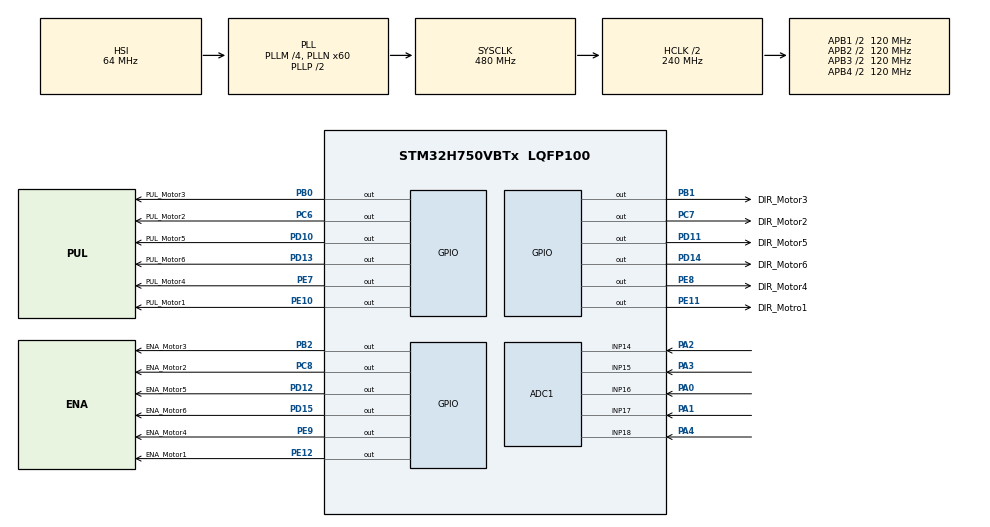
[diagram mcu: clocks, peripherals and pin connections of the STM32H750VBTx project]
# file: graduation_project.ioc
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ADC1.Channel-1\#ChannelRegularConversion=ADC_CHANNEL_15
ADC1.Channel-3\#ChannelRegularConversion=ADC_CHANNEL_14
ADC1.Channel-4\#ChannelRegularConversion=ADC_CHANNEL_17
ADC1.Channel-5\#ChannelRegularConversion=ADC_CHANNEL_16
ADC1.Channel-8\#ChannelRegularConversion=ADC_CHANNEL_18
ADC1.ClockPrescaler=ADC_CLOCK_ASYNC_DIV2
ADC1.ExternalTrigConv=ADC_SOFTWARE_START
ADC1.NbrOfConversion=5
ADC1.NbrOfConversionFlag=1
ADC1.OffsetNumber-1\#ChannelRegularConversion=ADC_OFFSET_NONE
ADC1.OffsetNumber-3\#ChannelRegularConversion=ADC_OFFSET_NONE
ADC1.OffsetNumber-4\#ChannelRegularConversion=ADC_OFFSET_NONE
ADC1.OffsetNumber-5\#ChannelRegularConversion=ADC_OFFSET_NONE
ADC1.OffsetNumber-8\#ChannelRegularConversion=ADC_OFFSET_NONE
ADC1.OffsetSignedSaturation-1\#ChannelRegularConversion=DISABLE
ADC1.OffsetSignedSaturation-3\#ChannelRegularConversion=DISABLE
ADC1.OffsetSignedSaturation-4\#ChannelRegularConversion=DISABLE
ADC1.OffsetSignedSaturation-5\#ChannelRegularConversion=DISABLE
ADC1.OffsetSignedSaturation-8\#ChannelRegularConversion=DISABLE
ADC1.Rank-1\#ChannelRegularConversion=1
ADC1.Rank-3\#ChannelRegularConversion=2
ADC1.Rank-4\#ChannelRegularConversion=3
ADC1.Rank-5\#ChannelRegularConversion=4
ADC1.Rank-8\#ChannelRegularConversion=5
ADC1.SamplingTime-1\#ChannelRegularConversion=ADC_SAMPLETIME_387CYCLES_5
ADC1.SamplingTime-3\#ChannelRegularConversion=ADC_SAMPLETIME_387CYCLES_5
ADC1.SamplingTime-4\#ChannelRegularConversion=ADC_SAMPLETIME_387CYCLES_5
ADC1.SamplingTime-5\#ChannelRegularConversion=ADC_SAMPLETIME_387CYCLES_5
ADC1.SamplingTime-8\#ChannelRegularConversion=ADC_SAMPLETIME_387CYCLES_5
ADC1.master=1
CORTEX_M7.default_mode_Activation=1
FREERTOS.Tasks01=First,24,128,FirstMotor,Default,NULL,Dynamic,NULL,NULL;Second,24,128,SecondMotor,Default,NULL,Dynamic,NULL,NULL;Third,24,128,ThirdMotor,Default,NULL,Dynamic,NULL,NULL;Fourth,24,128,FourthMotor,Default,NULL,Dynamic,NULL,NULL;Fifth,24,128,FifthMotor,Default,NULL,Dynamic,NULL,NULL;Sixth,24,128,SixthMotor,Default,NULL,Dynamic,NULL,NULL
Mcu.Family=STM32H7
Mcu.Name=STM32H750VBTx
Mcu.Package=LQFP100
NVIC.PriorityGroup=NVIC_PRIORITYGROUP_4
NVIC.TIM1_UP_IRQn=true\:15\:0\:false\:false\:true\:false\:false\:true\:true
NVIC.TimeBase=TIM1_UP_IRQn
NVIC.TimeBaseIP=TIM1
PA0.Mode=IN16-Single-Ended
PA0.Signal=ADC1_INP16
PA1.Mode=IN17-Single-Ended
PA1.Signal=ADC1_INP17
PA13\ (JTMS/SWDIO).Mode=Serial_Wire
PA13\ (JTMS/SWDIO).Signal=DEBUG_JTMS-SWDIO
PA14\ (JTCK/SWCLK).Mode=Serial_Wire
PA14\ (JTCK/SWCLK).Signal=DEBUG_JTCK-SWCLK
PA2.Signal=ADCx_INP14
PA3.Signal=ADCx_INP15
PA4.Signal=ADCx_INP18
PB0.GPIO_Label=PUL_Motor3
PB0.Signal=GPIO_Output
PB1.GPIO_Label=DIR_Motor3
PB1.Signal=GPIO_Output
PB2.GPIO_Label=ENA_Motor3
PB2.Signal=GPIO_Output
PC6.GPIO_Label=PUL_Motor2
PC6.Signal=GPIO_Output
PC7.GPIO_Label=DIR_Motor2
PC7.Signal=GPIO_Output
PC8.GPIO_Label=ENA_Motor2
PC8.Signal=GPIO_Output
PD10.GPIO_Label=PUL_Motor5
PD10.Signal=GPIO_Output
PD11.GPIO_Label=DIR_Motor5
PD11.Signal=GPIO_Output
PD12.GPIO_Label=ENA_Motor5
PD12.Signal=GPIO_Output
PD13.GPIO_Label=PUL_Motor6
PD13.Signal=GPIO_Output
PD14.GPIO_Label=DIR_Motor6
PD14.Signal=GPIO_Output
PD15.GPIO_Label=ENA_Motor6
PD15.Signal=GPIO_Output
PE10.GPIO_Label=PUL_Motor1
PE10.Signal=GPIO_Output
PE11.GPIO_Label=DIR_Motro1
PE11.Signal=GPIO_Output
PE12.GPIO_Label=ENA_Motor1
PE12.Signal=GPIO_Output
PE7.GPIO_Label=PUL_Motor4
PE7.Signal=GPIO_Output
PE8.GPIO_Label=DIR_Motor4
PE8.Signal=GPIO_Output
PE9.GPIO_Label=ENA_Motor4
PE9.Signal=GPIO_Output
PH0-OSC_IN\ (PH0).Mode=HSE-External-Oscillator
PH0-OSC_IN\ (PH0).Signal=RCC_OSC_IN
PH1-OSC_OUT\ (PH1).Mode=HSE-External-Oscillator
PH1-OSC_OUT\ (PH1).Signal=RCC_OSC_OUT
ProjectManager.HeapSize=0x200
ProjectManager.StackSize=0x400
ProjectManager.TargetToolchain=STM32CubeIDE
RCC.ADCFreq_Value=80000000
RCC.APB1Freq_Value=120000000
RCC.APB2Freq_Value=120000000
RCC.APB3Freq_Value=120000000
RCC.APB4Freq_Value=120000000
RCC.CortexFreq_Value=480000000
RCC.D1PPRE=RCC_APB3_DIV2
RCC.D2PPRE1=RCC_APB1_DIV2
RCC.D2PPRE2=RCC_APB2_DIV2
RCC.D3PPRE=RCC_APB4_DIV2
RCC.DIVM1=4
RCC.DIVM2=4
RCC.DIVN1=60
RCC.DIVN2=10
RCC.HCLKFreq_Value=240000000
RCC.HPRE=RCC_HCLK_DIV2
RCC.PLL2FRACN=0
RCC.PLL3FRACN=0
RCC.PLLFRACN=0
RCC.SYSCLKFreq_VALUE=480000000
RCC.SYSCLKSource=RCC_SYSCLKSOURCE_PLLCLK
RCC.USBFreq_Value=480000000
SH.ADCx_INP14.0=ADC1_INP14,IN14-Single-Ended
SH.ADCx_INP15.0=ADC1_INP15,IN15-Single-Ended
SH.ADCx_INP18.0=ADC1_INP18,IN18-Single-Ended
TIM8.Period=1000-1
TIM8.Prescaler=28000-1
VP_FREERTOS_VS_CMSIS_V2.Mode=CMSIS_V2
VP_MEMORYMAP_VS_MEMORYMAP.Mode=CurAppReg
VP_SYS_VS_tim1.Mode=TIM1
VP_TIM8_VS_ClockSourceINT.Mode=Internal
board=custom

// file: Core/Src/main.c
/* USER CODE BEGIN Header */
/**
 ******************************************************************************
 * @file           : main.c
 * @brief          : Main program body
 ******************************************************************************
 * @attention
 *
 * Copyright (c) 2025 STMicroelectronics.
 * All rights reserved.
 *
 * This software is licensed under terms that can be found in the LICENSE file
 * in the root directory of this software component.
 * If no LICENSE file comes with this software, it is provided AS-IS.
 *
 ******************************************************************************
 */
/* USER CODE END Header */
#include "main.h"
#include "cmsis_os.h"

/* USER CODE BEGIN Includes */
#include <math.h>
#include <stdbool.h>
#include <stdlib.h>
#include <math.h>
/* USER CODE END Includes */

/* USER CODE BEGIN PTD */
typedef enum {
	MOTOR_DISABLED = 0,
	MOTOR_ENABLED = 1
} MotorState;

typedef struct {
    GPIO_TypeDef* enablePort;
    uint16_t enablePin;
    GPIO_TypeDef* directionPort;
    uint16_t directionPin;
    GPIO_TypeDef* stepPort;
    uint16_t stepPin;
    ADC_HandleTypeDef* hadc;
    uint32_t adcChannel;
    int lastStepPosition;
    int totalSteps;  // Tracks absolute position including multiple revolutions
    MotorState enabled;
    int lastStablePotValue;
    int lastMovementDirection;
    int currentSpeed;
    float rotationRange;
} MotorController;
/* USER CODE END PTD */

/* USER CODE BEGIN PD */
#define min(a, b) ((a) < (b) ? (a) : (b))
#define StepPerRevolution 6400

// Enhanced tuning parameters
#define BASE_PULSE_WIDTH 150       // Increased for more stability
#define ACCELERATION_STEPS 800     // Longer acceleration
#define POT_SAMPLES 15             // More samples for better filtering
#define POT_DEADZONE 100           // Larger deadzone
#define POSITION_TOLERANCE 50      // Larger position tolerance
#define MIN_MOVE_STEPS 20          // Minimum steps to move
#define MAX_SPEED_CHANGE 50        // Limit speed changes between steps
#define HYSTERESIS 30
/* USER CODE END PD */

ADC_HandleTypeDef hadc1;

TIM_HandleTypeDef htim8;

/* Definitions for First */
osThreadId_t FirstHandle;
const osThreadAttr_t First_attributes = {
  .name = "First",
  .stack_size = 128 * 4,
  .priority = (osPriority_t) osPriorityNormal,
};
/* Definitions for Second */
osThreadId_t SecondHandle;
const osThreadAttr_t Second_attributes = {
  .name = "Second",
  .stack_size = 128 * 4,
  .priority = (osPriority_t) osPriorityNormal,
};
/* Definitions for Third */
osThreadId_t ThirdHandle;
const osThreadAttr_t Third_attributes = {
  .name = "Third",
  .stack_size = 128 * 4,
  .priority = (osPriority_t) osPriorityNormal,
};
/* Definitions for Fourth */
osThreadId_t FourthHandle;
const osThreadAttr_t Fourth_attributes = {
  .name = "Fourth",
  .stack_size = 128 * 4,
  .priority = (osPriority_t) osPriorityNormal,
};
/* Definitions for Fifth */
osThreadId_t FifthHandle;
const osThreadAttr_t Fifth_attributes = {
  .name = "Fifth",
  .stack_size = 128 * 4,
  .priority = (osPriority_t) osPriorityNormal,
};
/* Definitions for Sixth */
osThreadId_t SixthHandle;
const osThreadAttr_t Sixth_attributes = {
  .name = "Sixth",
  .stack_size = 128 * 4,
  .priority = (osPriority_t) osPriorityNormal,
};
/* USER CODE BEGIN PV */
MotorController motor1 = {
		.enablePort = GPIOE, .enablePin = GPIO_PIN_12,
		.directionPort = GPIOE, .directionPin = GPIO_PIN_11,
		.stepPort = GPIOE, .stepPin = GPIO_PIN_10,
		.hadc = &hadc1, .adcChannel = ADC_CHANNEL_15,
		.lastStepPosition = 0,
		.enabled = MOTOR_DISABLED,
		.lastStablePotValue = 0,
		.lastMovementDirection = 0,
		.currentSpeed = BASE_PULSE_WIDTH,
		.rotationRange = 2160.0f
};

MotorController motor2 = {
		.enablePort = GPIOC, .enablePin = GPIO_PIN_8,
		.directionPort = GPIOC, .directionPin = GPIO_PIN_7,
		.stepPort = GPIOC, .stepPin = GPIO_PIN_6,
		.hadc = &hadc1, .adcChannel = ADC_CHANNEL_14,
		.lastStepPosition = 0,
		.enabled = MOTOR_DISABLED,
		.lastStablePotValue = 0,
		.lastMovementDirection = 0,
		.currentSpeed = BASE_PULSE_WIDTH,
		.rotationRange = -3060.0f
};

MotorController motor3 = {
		.enablePort = GPIOB, .enablePin = GPIO_PIN_2,
		.directionPort = GPIOB, .directionPin = GPIO_PIN_1,
		.stepPort = GPIOB, .stepPin = GPIO_PIN_0,
		.hadc = &hadc1, .adcChannel = ADC_CHANNEL_17,
		.lastStepPosition = 0,
		.enabled = MOTOR_DISABLED,
		.lastStablePotValue = 0,
		.lastMovementDirection = 0,
		.currentSpeed = BASE_PULSE_WIDTH,
		.rotationRange = -720.0f
};

MotorController motor4 = {
		.enablePort = GPIOE, .enablePin = GPIO_PIN_9,
		.directionPort = GPIOE, .directionPin = GPIO_PIN_8,
		.stepPort = GPIOE, .stepPin = GPIO_PIN_7,
		.hadc = &hadc1, .adcChannel = ADC_CHANNEL_16,
		.lastStepPosition = 0,
		.enabled = MOTOR_DISABLED,
		.lastStablePotValue = 0,
		.lastMovementDirection = 0,
		.currentSpeed = BASE_PULSE_WIDTH,
		.rotationRange = 2160.0f
};

MotorController motor5 = {
		.enablePort = GPIOD, .enablePin = GPIO_PIN_12,
		.directionPort = GPIOD, .directionPin = GPIO_PIN_11,
		.stepPort = GPIOD, .stepPin = GPIO_PIN_10,
		.hadc = &hadc1, .adcChannel = ADC_CHANNEL_18,
		.lastStepPosition = 0,
		.enabled = MOTOR_DISABLED,
		.lastStablePotValue = 0,
		.lastMovementDirection = 0,
		.currentSpeed = BASE_PULSE_WIDTH,
		.rotationRange = -720.0f
};

MotorController motor6 = {
		.enablePort = GPIOD, .enablePin = GPIO_PIN_15,
		.directionPort = GPIOD, .directionPin = GPIO_PIN_14,
		.stepPort = GPIOD, .stepPin = GPIO_PIN_13,
		.hadc = &hadc1, .adcChannel = ADC_CHANNEL_18,
		.lastStepPosition = 0,
		.enabled = MOTOR_DISABLED,
		.lastStablePotValue = 0,
		.lastMovementDirection = 0,
		.currentSpeed = BASE_PULSE_WIDTH,
		.rotationRange = 720.0f
};
/* USER CODE END PV */

void SystemClock_Config(void);
static void MPU_Config(void);
static void MX_GPIO_Init(void);
static void MX_ADC1_Init(void);
static void MX_TIM8_Init(void);
void FirstMotor(void *argument);
void SecondMotor(void *argument);
void ThirdMotor(void *argument);
void FourthMotor(void *argument);
void FifthMotor(void *argument);
void SixthMotor(void *argument);

/* USER CODE BEGIN PFP */
int readStablePot(MotorController* motor);
void moveToPositionSmooth(MotorController* motor, int targetStep);
void HAL_Delay_us(uint32_t microseconds);
/* USER CODE END PFP */

/* USER CODE BEGIN 0 */
int readStablePot(MotorController* motor) {
    static int samples[5][POT_SAMPLES]; // Changed to 4 motors
    static int indices[5] = {0};       // Changed to 4 motors
    int motorIndex;

    // Determine motor index
    if(motor == &motor1) motorIndex = 0;
    else if(motor == &motor2) motorIndex = 1;
    else if(motor == &motor3) motorIndex = 2;
    else if(motor == &motor4) motorIndex = 3;
    else motorIndex = 4;  // Added for motor4

    // Configure ADC for this motor's channel
    ADC_ChannelConfTypeDef sConfig = {0};
    sConfig.Channel = motor->adcChannel;
    sConfig.Rank = ADC_REGULAR_RANK_1;
    sConfig.SamplingTime = ADC_SAMPLETIME_387CYCLES_5;
    sConfig.SingleDiff = ADC_SINGLE_ENDED;
    HAL_ADC_ConfigChannel(motor->hadc, &sConfig);

    // Read ADC value
    HAL_ADC_Start(motor->hadc);
    if (HAL_ADC_PollForConversion(motor->hadc, 10) == HAL_OK) {
        samples[motorIndex][indices[motorIndex]] = HAL_ADC_GetValue(motor->hadc);
    }
    HAL_ADC_Stop(motor->hadc);

    indices[motorIndex] = (indices[motorIndex] + 1) % POT_SAMPLES;

    // Exponential moving average
    float alpha = 0.2f;
    static float filteredValues[5] = {0};  // Changed to 4 motors
    if (filteredValues[motorIndex] == 0) {
        filteredValues[motorIndex] = samples[motorIndex][0];
    }

    for (int i = 0; i < POT_SAMPLES; i++) {
        filteredValues[motorIndex] = alpha * samples[motorIndex][i] +
                                   (1 - alpha) * filteredValues[motorIndex];
    }

    return (int)filteredValues[motorIndex];
}

void moveToPositionSmooth(MotorController* motor, int targetStep) {
    int direction;
    int stepsToMove = targetStep - motor->totalSteps;

    if (abs(stepsToMove) < MIN_MOVE_STEPS) {
        return;
    }

    // Handle multi-revolution movement properly
    int possibleSteps1 = stepsToMove;
    int possibleSteps2 = stepsToMove - (StepPerRevolution * (motor->rotationRange / 360.0f));
    int possibleSteps3 = stepsToMove + (StepPerRevolution * (motor->rotationRange / 360.0f));

    // Find the shortest path
    int shortestPath = possibleSteps1;
    if (abs(possibleSteps2) < abs(shortestPath)) shortestPath = possibleSteps2;
    if (abs(possibleSteps3) < abs(shortestPath)) shortestPath = possibleSteps3;

    direction = (shortestPath > 0) ? 1 : -1;
    int totalSteps = abs(shortestPath);

    if ((direction * motor->lastMovementDirection) < 0 &&
            totalSteps < (POSITION_TOLERANCE*2)) {
        direction = motor->lastMovementDirection;
        stepsToMove = targetStep - motor->totalSteps;
        totalSteps = abs(stepsToMove);
    }

    HAL_GPIO_WritePin(motor->directionPort, motor->directionPin,
            (direction > 0) ? GPIO_PIN_SET : GPIO_PIN_RESET);
    motor->lastMovementDirection = direction;

    int accelSteps = min(ACCELERATION_STEPS, totalSteps/2);
    int decelStart = totalSteps - accelSteps;

    for (int i = 0; i < totalSteps; i++) {
        int targetPulseWidth = BASE_PULSE_WIDTH;

        if (i < accelSteps) {
            float progress = (float)i / accelSteps;
            targetPulseWidth = BASE_PULSE_WIDTH*2 - (BASE_PULSE_WIDTH * progress * progress * progress);
        }
        else if (i >= decelStart) {
            float progress = (float)(i-decelStart) / accelSteps;
            targetPulseWidth = BASE_PULSE_WIDTH + (BASE_PULSE_WIDTH * progress * progress * progress);
        }

        if (abs(targetPulseWidth - motor->currentSpeed) > MAX_SPEED_CHANGE) {
            if (targetPulseWidth < motor->currentSpeed) {
                targetPulseWidth = motor->currentSpeed - MAX_SPEED_CHANGE;
            } else {
                targetPulseWidth = motor->currentSpeed + MAX_SPEED_CHANGE;
            }
        }
        motor->currentSpeed = targetPulseWidth;

        HAL_GPIO_WritePin(motor->stepPort, motor->stepPin, GPIO_PIN_SET);
        HAL_Delay_us(targetPulseWidth/2);
        HAL_GPIO_WritePin(motor->stepPort, motor->stepPin, GPIO_PIN_RESET);
        HAL_Delay_us(targetPulseWidth/2);

        motor->totalSteps += direction;
        motor->lastStepPosition = motor->totalSteps % StepPerRevolution;
    }
}

// Microsecond delay function
void HAL_Delay_us(uint32_t microseconds) {
	uint32_t start = DWT->CYCCNT;
	uint32_t cycles = (SystemCoreClock / 1000000) * microseconds;

	while ((DWT->CYCCNT - start) < cycles) {
		// Wait
	}
}
/* USER CODE END 0 */

int main(void)
{

  /* MPU Configuration--------------------------------------------------------*/
  MPU_Config();

  /* MCU Configuration--------------------------------------------------------*/

  /* Reset of all peripherals, Initializes the Flash interface and the Systick. */
  HAL_Init();

  /* USER CODE BEGIN Init */
	// Enable DWT for microsecond delay
	CoreDebug->DEMCR |= CoreDebug_DEMCR_TRCENA_Msk;
	DWT->CYCCNT = 0;
	DWT->CTRL |= DWT_CTRL_CYCCNTENA_Msk;
  /* USER CODE END Init */

  /* Configure the system clock */
  SystemClock_Config();

  /* Initialize all configured peripherals */
  MX_GPIO_Init();
  MX_ADC1_Init();
  MX_TIM8_Init();
  /* USER CODE BEGIN 2 */
	// Start TIM8 for ADC triggering
	HAL_TIM_Base_Start(&htim8);

	// Initialize motor states
	HAL_GPIO_WritePin(motor1.enablePort, motor1.enablePin, GPIO_PIN_SET);
	HAL_GPIO_WritePin(motor2.enablePort, motor2.enablePin, GPIO_PIN_SET);
	HAL_GPIO_WritePin(motor3.enablePort, motor3.enablePin, GPIO_PIN_SET);
	HAL_GPIO_WritePin(motor4.enablePort, motor4.enablePin, GPIO_PIN_SET);
	HAL_GPIO_WritePin(motor5.enablePort, motor5.enablePin, GPIO_PIN_SET);
	HAL_GPIO_WritePin(motor6.enablePort, motor6.enablePin, GPIO_PIN_SET);
  /* USER CODE END 2 */

  /* Init scheduler */
  osKernelInitialize();

  /* Create the thread(s) */
  /* creation of First */
  FirstHandle = osThreadNew(FirstMotor, NULL, &First_attributes);

  /* creation of Second */
  SecondHandle = osThreadNew(SecondMotor, NULL, &Second_attributes);

  /* creation of Third */
  ThirdHandle = osThreadNew(ThirdMotor, NULL, &Third_attributes);

  /* creation of Fourth */
  FourthHandle = osThreadNew(FourthMotor, NULL, &Fourth_attributes);

  /* creation of Fifth */
  FifthHandle = osThreadNew(FifthMotor, NULL, &Fifth_attributes);

  /* creation of Sixth */
  SixthHandle = osThreadNew(SixthMotor, NULL, &Sixth_attributes);

  /* Start scheduler */
  osKernelStart();

  /* We should never get here as control is now taken by the scheduler */

  /* Infinite loop */
	while (1)
	{

	}
}

void SystemClock_Config(void)
{
  RCC_OscInitTypeDef RCC_OscInitStruct = {0};
  RCC_ClkInitTypeDef RCC_ClkInitStruct = {0};

  /** Supply configuration update enable
  */
  HAL_PWREx_ConfigSupply(PWR_LDO_SUPPLY);

  /** Configure the main internal regulator output voltage
  */
  __HAL_PWR_VOLTAGESCALING_CONFIG(PWR_REGULATOR_VOLTAGE_SCALE0);

  while(!__HAL_PWR_GET_FLAG(PWR_FLAG_VOSRDY)) {}

  /** Initializes the RCC Oscillators according to the specified parameters
  * in the RCC_OscInitTypeDef structure.
  */
  RCC_OscInitStruct.OscillatorType = RCC_OSCILLATORTYPE_HSI;
  RCC_OscInitStruct.HSIState = RCC_HSI_DIV1;
  RCC_OscInitStruct.HSICalibrationValue = RCC_HSICALIBRATION_DEFAULT;
  RCC_OscInitStruct.PLL.PLLState = RCC_PLL_ON;
  RCC_OscInitStruct.PLL.PLLSource = RCC_PLLSOURCE_HSI;
  RCC_OscInitStruct.PLL.PLLM = 4;
  RCC_OscInitStruct.PLL.PLLN = 60;
  RCC_OscInitStruct.PLL.PLLP = 2;
  RCC_OscInitStruct.PLL.PLLQ = 2;
  RCC_OscInitStruct.PLL.PLLR = 2;
  RCC_OscInitStruct.PLL.PLLRGE = RCC_PLL1VCIRANGE_3;
  RCC_OscInitStruct.PLL.PLLVCOSEL = RCC_PLL1VCOWIDE;
  RCC_OscInitStruct.PLL.PLLFRACN = 0;
  if (HAL_RCC_OscConfig(&RCC_OscInitStruct) != HAL_OK)
  {
    Error_Handler();
  }

  /** Initializes the CPU, AHB and APB buses clocks
  */
  RCC_ClkInitStruct.ClockType = RCC_CLOCKTYPE_HCLK|RCC_CLOCKTYPE_SYSCLK
                              |RCC_CLOCKTYPE_PCLK1|RCC_CLOCKTYPE_PCLK2
                              |RCC_CLOCKTYPE_D3PCLK1|RCC_CLOCKTYPE_D1PCLK1;
  RCC_ClkInitStruct.SYSCLKSource = RCC_SYSCLKSOURCE_PLLCLK;
  RCC_ClkInitStruct.SYSCLKDivider = RCC_SYSCLK_DIV1;
  RCC_ClkInitStruct.AHBCLKDivider = RCC_HCLK_DIV2;
  RCC_ClkInitStruct.APB3CLKDivider = RCC_APB3_DIV2;
  RCC_ClkInitStruct.APB1CLKDivider = RCC_APB1_DIV2;
  RCC_ClkInitStruct.APB2CLKDivider = RCC_APB2_DIV2;
  RCC_ClkInitStruct.APB4CLKDivider = RCC_APB4_DIV2;

  if (HAL_RCC_ClockConfig(&RCC_ClkInitStruct, FLASH_LATENCY_4) != HAL_OK)
  {
    Error_Handler();
  }
}

static void MX_ADC1_Init(void)
{

  ADC_MultiModeTypeDef multimode = {0};
  ADC_ChannelConfTypeDef sConfig = {0};

  /** Common config
  */
  hadc1.Instance = ADC1;
  hadc1.Init.ClockPrescaler = ADC_CLOCK_ASYNC_DIV2;
  hadc1.Init.Resolution = ADC_RESOLUTION_16B;
  hadc1.Init.ScanConvMode = ADC_SCAN_ENABLE;
  hadc1.Init.EOCSelection = ADC_EOC_SINGLE_CONV;
  hadc1.Init.LowPowerAutoWait = DISABLE;
  hadc1.Init.ContinuousConvMode = DISABLE;
  hadc1.Init.NbrOfConversion = 5;
  hadc1.Init.DiscontinuousConvMode = DISABLE;
  hadc1.Init.ExternalTrigConv = ADC_SOFTWARE_START;
  hadc1.Init.ExternalTrigConvEdge = ADC_EXTERNALTRIGCONVEDGE_NONE;
  hadc1.Init.ConversionDataManagement = ADC_CONVERSIONDATA_DR;
  hadc1.Init.Overrun = ADC_OVR_DATA_PRESERVED;
  hadc1.Init.LeftBitShift = ADC_LEFTBITSHIFT_NONE;
  hadc1.Init.OversamplingMode = DISABLE;
  hadc1.Init.Oversampling.Ratio = 1;
  if (HAL_ADC_Init(&hadc1) != HAL_OK)
  {
    Error_Handler();
  }

  /** Configure the ADC multi-mode
  */
  multimode.Mode = ADC_MODE_INDEPENDENT;
  if (HAL_ADCEx_MultiModeConfigChannel(&hadc1, &multimode) != HAL_OK)
  {
    Error_Handler();
  }

  /** Configure Regular Channel
  */
  sConfig.Channel = ADC_CHANNEL_15;
  sConfig.Rank = ADC_REGULAR_RANK_1;
  sConfig.SamplingTime = ADC_SAMPLETIME_387CYCLES_5;
  sConfig.SingleDiff = ADC_SINGLE_ENDED;
  sConfig.OffsetNumber = ADC_OFFSET_NONE;
  sConfig.Offset = 0;
  sConfig.OffsetSignedSaturation = DISABLE;
  if (HAL_ADC_ConfigChannel(&hadc1, &sConfig) != HAL_OK)
  {
    Error_Handler();
  }

  /** Configure Regular Channel
  */
  sConfig.Channel = ADC_CHANNEL_14;
  sConfig.Rank = ADC_REGULAR_RANK_2;
  if (HAL_ADC_ConfigChannel(&hadc1, &sConfig) != HAL_OK)
  {
    Error_Handler();
  }

  /** Configure Regular Channel
  */
  sConfig.Channel = ADC_CHANNEL_17;
  sConfig.Rank = ADC_REGULAR_RANK_3;
  if (HAL_ADC_ConfigChannel(&hadc1, &sConfig) != HAL_OK)
  {
    Error_Handler();
  }

  /** Configure Regular Channel
  */
  sConfig.Channel = ADC_CHANNEL_16;
  sConfig.Rank = ADC_REGULAR_RANK_4;
  if (HAL_ADC_ConfigChannel(&hadc1, &sConfig) != HAL_OK)
  {
    Error_Handler();
  }

  /** Configure Regular Channel
  */
  sConfig.Channel = ADC_CHANNEL_18;
  sConfig.Rank = ADC_REGULAR_RANK_5;
  if (HAL_ADC_ConfigChannel(&hadc1, &sConfig) != HAL_OK)
  {
    Error_Handler();
  }

}

static void MX_TIM8_Init(void)
{

  TIM_ClockConfigTypeDef sClockSourceConfig = {0};
  TIM_MasterConfigTypeDef sMasterConfig = {0};

  htim8.Instance = TIM8;
  htim8.Init.Prescaler = 28000-1;
  htim8.Init.CounterMode = TIM_COUNTERMODE_UP;
  htim8.Init.Period = 1000-1;
  htim8.Init.ClockDivision = TIM_CLOCKDIVISION_DIV1;
  htim8.Init.RepetitionCounter = 0;
  htim8.Init.AutoReloadPreload = TIM_AUTORELOAD_PRELOAD_DISABLE;
  if (HAL_TIM_Base_Init(&htim8) != HAL_OK)
  {
    Error_Handler();
  }
  sClockSourceConfig.ClockSource = TIM_CLOCKSOURCE_INTERNAL;
  if (HAL_TIM_ConfigClockSource(&htim8, &sClockSourceConfig) != HAL_OK)
  {
    Error_Handler();
  }
  sMasterConfig.MasterOutputTrigger = TIM_TRGO_RESET;
  sMasterConfig.MasterOutputTrigger2 = TIM_TRGO2_RESET;
  sMasterConfig.MasterSlaveMode = TIM_MASTERSLAVEMODE_DISABLE;
  if (HAL_TIMEx_MasterConfigSynchronization(&htim8, &sMasterConfig) != HAL_OK)
  {
    Error_Handler();
  }

}

static void MX_GPIO_Init(void)
{
  GPIO_InitTypeDef GPIO_InitStruct = {0};

  /* GPIO Ports Clock Enable */
  __HAL_RCC_GPIOH_CLK_ENABLE();
  __HAL_RCC_GPIOA_CLK_ENABLE();
  __HAL_RCC_GPIOB_CLK_ENABLE();
  __HAL_RCC_GPIOE_CLK_ENABLE();
  __HAL_RCC_GPIOD_CLK_ENABLE();
  __HAL_RCC_GPIOC_CLK_ENABLE();

  /*Configure GPIO pin Output Level */
  HAL_GPIO_WritePin(GPIOB, PUL_Motor3_Pin|DIR_Motor3_Pin|ENA_Motor3_Pin, GPIO_PIN_RESET);

  /*Configure GPIO pin Output Level */
  HAL_GPIO_WritePin(GPIOE, PUL_Motor4_Pin|DIR_Motor4_Pin|ENA_Motor4_Pin|PUL_Motor1_Pin
                          |DIR_Motro1_Pin|ENA_Motor1_Pin, GPIO_PIN_RESET);

  /*Configure GPIO pin Output Level */
  HAL_GPIO_WritePin(GPIOD, PUL_Motor5_Pin|DIR_Motor5_Pin|ENA_Motor5_Pin|PUL_Motor6_Pin
                          |DIR_Motor6_Pin|ENA_Motor6_Pin, GPIO_PIN_RESET);

  /*Configure GPIO pin Output Level */
  HAL_GPIO_WritePin(GPIOC, PUL_Motor2_Pin|DIR_Motor2_Pin|ENA_Motor2_Pin, GPIO_PIN_RESET);

  /*Configure GPIO pins : PUL_Motor3_Pin DIR_Motor3_Pin ENA_Motor3_Pin */
  GPIO_InitStruct.Pin = PUL_Motor3_Pin|DIR_Motor3_Pin|ENA_Motor3_Pin;
  GPIO_InitStruct.Mode = GPIO_MODE_OUTPUT_PP;
  GPIO_InitStruct.Pull = GPIO_NOPULL;
  GPIO_InitStruct.Speed = GPIO_SPEED_FREQ_LOW;
  HAL_GPIO_Init(GPIOB, &GPIO_InitStruct);

  /*Configure GPIO pins : PUL_Motor4_Pin DIR_Motor4_Pin ENA_Motor4_Pin PUL_Motor1_Pin
                           DIR_Motro1_Pin ENA_Motor1_Pin */
  GPIO_InitStruct.Pin = PUL_Motor4_Pin|DIR_Motor4_Pin|ENA_Motor4_Pin|PUL_Motor1_Pin
                          |DIR_Motro1_Pin|ENA_Motor1_Pin;
  GPIO_InitStruct.Mode = GPIO_MODE_OUTPUT_PP;
  GPIO_InitStruct.Pull = GPIO_NOPULL;
  GPIO_InitStruct.Speed = GPIO_SPEED_FREQ_LOW;
  HAL_GPIO_Init(GPIOE, &GPIO_InitStruct);

  /*Configure GPIO pins : PUL_Motor5_Pin DIR_Motor5_Pin ENA_Motor5_Pin PUL_Motor6_Pin
                           DIR_Motor6_Pin ENA_Motor6_Pin */
  GPIO_InitStruct.Pin = PUL_Motor5_Pin|DIR_Motor5_Pin|ENA_Motor5_Pin|PUL_Motor6_Pin
                          |DIR_Motor6_Pin|ENA_Motor6_Pin;
  GPIO_InitStruct.Mode = GPIO_MODE_OUTPUT_PP;
  GPIO_InitStruct.Pull = GPIO_NOPULL;
  GPIO_InitStruct.Speed = GPIO_SPEED_FREQ_LOW;
  HAL_GPIO_Init(GPIOD, &GPIO_InitStruct);

  /*Configure GPIO pins : PUL_Motor2_Pin DIR_Motor2_Pin ENA_Motor2_Pin */
  GPIO_InitStruct.Pin = PUL_Motor2_Pin|DIR_Motor2_Pin|ENA_Motor2_Pin;
  GPIO_InitStruct.Mode = GPIO_MODE_OUTPUT_PP;
  GPIO_InitStruct.Pull = GPIO_NOPULL;
  GPIO_InitStruct.Speed = GPIO_SPEED_FREQ_LOW;
  HAL_GPIO_Init(GPIOC, &GPIO_InitStruct);

}

void FirstMotor(void *argument)
{
    HAL_GPIO_WritePin(motor1.enablePort, motor1.enablePin, GPIO_PIN_SET);
    motor1.enabled = MOTOR_DISABLED;
    motor1.lastStablePotValue = readStablePot(&motor1);

    for(;;) {
        int potValue = readStablePot(&motor1);
        int potDifference = abs(potValue - motor1.lastStablePotValue);

        if(potDifference > POT_DEADZONE ||
                (motor1.enabled == MOTOR_ENABLED && potDifference > POT_DEADZONE/2)) {
            if(motor1.enabled == MOTOR_DISABLED) {
                HAL_GPIO_WritePin(motor1.enablePort, motor1.enablePin, GPIO_PIN_RESET);
                motor1.enabled = MOTOR_ENABLED;
            }

            // Calculate target steps based on full rotation range
            float targetAngle = (float)potValue / 65535.0f * motor1.rotationRange;
            int targetSteps = (int)(targetAngle/360.0f * StepPerRevolution);

            // Handle wrap-around for multi-revolution ranges
            int maxRevolutions = (int)(motor1.rotationRange / 360.0f);

            // Check if we need to wrap around (e.g., from 1080° back to 0°)
            if (potValue < 1000 && motor1.lastStablePotValue > 64535) {
                // Moving from high to low (wrap around forward)
                targetSteps = (maxRevolutions * StepPerRevolution) + (int)((float)potValue / 65535.0f * StepPerRevolution);
            } else if (potValue > 64535 && motor1.lastStablePotValue < 1000) {
                // Moving from low to high (wrap around backward)
                targetSteps = (int)((float)potValue / 65535.0f * StepPerRevolution) - StepPerRevolution;
            }

            moveToPositionSmooth(&motor1, targetSteps);
            motor1.lastStablePotValue = potValue;
        }
        else if(motor1.enabled == MOTOR_ENABLED) {
            // Compare absolute step positions
            float targetAngle = (float)motor1.lastStablePotValue / 65535.0f * motor1.rotationRange;
            int targetSteps = (int)(targetAngle/360.0f * StepPerRevolution);

            if(abs(motor1.totalSteps - targetSteps) <= POSITION_TOLERANCE) {
                HAL_GPIO_WritePin(motor1.enablePort, motor1.enablePin, GPIO_PIN_SET);
                motor1.enabled = MOTOR_DISABLED;
            }
        }
        osDelay(10);
    }
  /* USER CODE END 5 */
}

void SecondMotor(void *argument)
{
	/* USER CODE BEGIN SecondMotor */
    HAL_GPIO_WritePin(motor2.enablePort, motor2.enablePin, GPIO_PIN_SET);
    motor2.enabled = MOTOR_DISABLED;
    motor2.lastStablePotValue = readStablePot(&motor2);

    for(;;) {
        int potValue = readStablePot(&motor2);
        int potDifference = abs(potValue - motor2.lastStablePotValue);

        if(potDifference > POT_DEADZONE ||
                (motor2.enabled == MOTOR_ENABLED && potDifference > POT_DEADZONE/2)) {
            if(motor2.enabled == MOTOR_DISABLED) {
                HAL_GPIO_WritePin(motor2.enablePort, motor2.enablePin, GPIO_PIN_RESET);
                motor2.enabled = MOTOR_ENABLED;
            }

            // Calculate target steps based on full rotation range
            float targetAngle = (float)potValue / 65535.0f * motor2.rotationRange;
            int targetSteps = (int)(targetAngle/360.0f * StepPerRevolution);

            // Handle wrap-around for multi-revolution ranges
            int maxRevolutions = (int)(motor2.rotationRange / 360.0f);

            // Check if we need to wrap around (e.g., from 1080° back to 0°)
            if (potValue < 1000 && motor2.lastStablePotValue > 64535) {
                // Moving from high to low (wrap around forward)
                targetSteps = (maxRevolutions * StepPerRevolution) + (int)((float)potValue / 65535.0f * StepPerRevolution);
            } else if (potValue > 64535 && motor2.lastStablePotValue < 1000) {
                // Moving from low to high (wrap around backward)
                targetSteps = (int)((float)potValue / 65535.0f * StepPerRevolution) - StepPerRevolution;
            }

            moveToPositionSmooth(&motor2, targetSteps);
            motor2.lastStablePotValue = potValue;
        }
        else if(motor2.enabled == MOTOR_ENABLED) {
            // Compare absolute step positions
            float targetAngle = (float)motor2.lastStablePotValue / 65535.0f * motor2.rotationRange;
            int targetSteps = (int)(targetAngle/360.0f * StepPerRevolution);

            if(abs(motor2.totalSteps - targetSteps) <= POSITION_TOLERANCE) {
                HAL_GPIO_WritePin(motor2.enablePort, motor2.enablePin, GPIO_PIN_SET);
                motor2.enabled = MOTOR_DISABLED;
            }
        }
		osDelay(10); // Delay using FreeRTOS (10ms delay)
	}
  /* USER CODE END SecondMotor */
}

void ThirdMotor(void *argument)
{
  /* USER CODE BEGIN ThirdMotor */
    HAL_GPIO_WritePin(motor3.enablePort, motor3.enablePin, GPIO_PIN_SET);
    motor3.enabled = MOTOR_DISABLED;
    motor3.lastStablePotValue = readStablePot(&motor3);

    for(;;) {
        int potValue = readStablePot(&motor3);
        int potDifference = abs(potValue - motor3.lastStablePotValue);

        if(potDifference > POT_DEADZONE ||
                (motor3.enabled == MOTOR_ENABLED && potDifference > POT_DEADZONE/2)) {
            if(motor3.enabled == MOTOR_DISABLED) {
                HAL_GPIO_WritePin(motor3.enablePort, motor3.enablePin, GPIO_PIN_RESET);
                motor3.enabled = MOTOR_ENABLED;
            }

            // Calculate target steps based on full rotation range
            float targetAngle = (float)potValue / 65535.0f * motor3.rotationRange;
            int targetSteps = (int)(targetAngle/360.0f * StepPerRevolution);

            // Handle wrap-around for multi-revolution ranges
            int maxRevolutions = (int)(motor3.rotationRange / 360.0f);

            // Check if we need to wrap around (e.g., from 1080° back to 0°)
            if (potValue < 1000 && motor3.lastStablePotValue > 64535) {
                // Moving from high to low (wrap around forward)
                targetSteps = (maxRevolutions * StepPerRevolution) + (int)((float)potValue / 65535.0f * StepPerRevolution);
            } else if (potValue > 64535 && motor3.lastStablePotValue < 1000) {
                // Moving from low to high (wrap around backward)
                targetSteps = (int)((float)potValue / 65535.0f * StepPerRevolution) - StepPerRevolution;
            }

            moveToPositionSmooth(&motor3, targetSteps);
            motor3.lastStablePotValue = potValue;
        }
        else if(motor3.enabled == MOTOR_ENABLED) {
            // Compare absolute step positions
            float targetAngle = (float)motor3.lastStablePotValue / 65535.0f * motor3.rotationRange;
            int targetSteps = (int)(targetAngle/360.0f * StepPerRevolution);

            if(abs(motor3.totalSteps - targetSteps) <= POSITION_TOLERANCE) {
                HAL_GPIO_WritePin(motor3.enablePort, motor3.enablePin, GPIO_PIN_SET);
                motor3.enabled = MOTOR_DISABLED;
            }
        }
		osDelay(10); // Delay using FreeRTOS (10ms delay)
	}
  /* USER CODE END ThirdMotor */
}

void FourthMotor(void *argument)
{
  /* USER CODE BEGIN FourthMotor */
    HAL_GPIO_WritePin(motor4.enablePort, motor4.enablePin, GPIO_PIN_SET);
    motor4.enabled = MOTOR_DISABLED;
    motor4.lastStablePotValue = readStablePot(&motor4);

    for(;;) {
        int potValue = readStablePot(&motor4);
        int potDifference = abs(potValue - motor4.lastStablePotValue);

        if(potDifference > POT_DEADZONE ||
                (motor4.enabled == MOTOR_ENABLED && potDifference > POT_DEADZONE/2)) {
            if(motor4.enabled == MOTOR_DISABLED) {
                HAL_GPIO_WritePin(motor4.enablePort, motor4.enablePin, GPIO_PIN_RESET);
                motor4.enabled = MOTOR_ENABLED;
            }

            // Calculate target steps based on full rotation range
            float targetAngle = (float)potValue / 65535.0f * motor4.rotationRange;
            int targetSteps = (int)(targetAngle/360.0f * StepPerRevolution);

            // Handle wrap-around for multi-revolution ranges
            int maxRevolutions = (int)(motor4.rotationRange / 360.0f);

            // Check if we need to wrap around (e.g., from 1080° back to 0°)
            if (potValue < 1000 && motor4.lastStablePotValue > 64535) {
                // Moving from high to low (wrap around forward)
                targetSteps = (maxRevolutions * StepPerRevolution) + (int)((float)potValue / 65535.0f * StepPerRevolution);
            } else if (potValue > 64535 && motor4.lastStablePotValue < 1000) {
                // Moving from low to high (wrap around backward)
                targetSteps = (int)((float)potValue / 65535.0f * StepPerRevolution) - StepPerRevolution;
            }

            moveToPositionSmooth(&motor4, targetSteps);
            motor4.lastStablePotValue = potValue;
        }
        else if(motor4.enabled == MOTOR_ENABLED) {
            // Compare absolute step positions
            float targetAngle = (float)motor4.lastStablePotValue / 65535.0f * motor4.rotationRange;
            int targetSteps = (int)(targetAngle/360.0f * StepPerRevolution);

            if(abs(motor4.totalSteps - targetSteps) <= POSITION_TOLERANCE) {
                HAL_GPIO_WritePin(motor4.enablePort, motor4.enablePin, GPIO_PIN_SET);
                motor4.enabled = MOTOR_DISABLED;
            }
        }
		osDelay(10); // Delay using FreeRTOS (10ms delay)
	}
  /* USER CODE END FourthMotor */
}

void FifthMotor(void *argument)
{
  /* USER CODE BEGIN FifthMotor */
    HAL_GPIO_WritePin(motor5.enablePort, motor5.enablePin, GPIO_PIN_SET);
    motor5.enabled = MOTOR_DISABLED;
    motor5.lastStablePotValue = readStablePot(&motor5);

    for(;;) {
        int potValue = readStablePot(&motor5);
        int potDifference = abs(potValue - motor5.lastStablePotValue);

        if(potDifference > POT_DEADZONE ||
                (motor5.enabled == MOTOR_ENABLED && potDifference > POT_DEADZONE/2)) {
            if(motor5.enabled == MOTOR_DISABLED) {
                HAL_GPIO_WritePin(motor5.enablePort, motor5.enablePin, GPIO_PIN_RESET);
                motor5.enabled = MOTOR_ENABLED;
            }

            // Calculate target steps based on full rotation range
            float targetAngle = (float)potValue / 65535.0f * motor5.rotationRange;
            int targetSteps = (int)(targetAngle/360.0f * StepPerRevolution);

            // Handle wrap-around for multi-revolution ranges
            int maxRevolutions = (int)(motor5.rotationRange / 360.0f);

            // Check if we need to wrap around (e.g., from 1080° back to 0°)
            if (potValue < 1000 && motor5.lastStablePotValue > 64535) {
                // Moving from high to low (wrap around forward)
                targetSteps = (maxRevolutions * StepPerRevolution) + (int)((float)potValue / 65535.0f * StepPerRevolution);
            } else if (potValue > 64535 && motor5.lastStablePotValue < 1000) {
                // Moving from low to high (wrap around backward)
                targetSteps = (int)((float)potValue / 65535.0f * StepPerRevolution) - StepPerRevolution;
            }

            moveToPositionSmooth(&motor5, targetSteps);
            motor5.lastStablePotValue = potValue;
        }
        else if(motor5.enabled == MOTOR_ENABLED) {
            // Compare absolute step positions
            float targetAngle = (float)motor5.lastStablePotValue / 65535.0f * motor5.rotationRange;
            int targetSteps = (int)(targetAngle/360.0f * StepPerRevolution);

            if(abs(motor5.totalSteps - targetSteps) <= POSITION_TOLERANCE) {
                HAL_GPIO_WritePin(motor5.enablePort, motor5.enablePin, GPIO_PIN_SET);
                motor5.enabled = MOTOR_DISABLED;
            }
        }
		osDelay(10); // Delay using FreeRTOS (10ms delay)
	}
  /* USER CODE END FifthMotor */
}

void SixthMotor(void *argument)
{
  /* USER CODE BEGIN SixthMotor */
    HAL_GPIO_WritePin(motor6.enablePort, motor6.enablePin, GPIO_PIN_SET);
    motor6.enabled = MOTOR_DISABLED;
    motor6.lastStablePotValue = readStablePot(&motor5);

    for(;;) {
        int potValue = readStablePot(&motor5);
        int potDifference = abs(potValue - motor6.lastStablePotValue);

        if(potDifference > POT_DEADZONE ||
                (motor6.enabled == MOTOR_ENABLED && potDifference > POT_DEADZONE/2)) {
            if(motor6.enabled == MOTOR_DISABLED) {
                HAL_GPIO_WritePin(motor6.enablePort, motor6.enablePin, GPIO_PIN_RESET);
                motor6.enabled = MOTOR_ENABLED;
            }

            // Calculate target steps based on full rotation range
            float targetAngle = (float)potValue / 65535.0f * motor6.rotationRange;
            int targetSteps = (int)(targetAngle/360.0f * StepPerRevolution);

            // Handle wrap-around for multi-revolution ranges
            int maxRevolutions = (int)(motor6.rotationRange / 360.0f);

            // Check if we need to wrap around (e.g., from 1080° back to 0°)
            if (potValue < 1000 && motor6.lastStablePotValue > 64535) {
                // Moving from high to low (wrap around forward)
                targetSteps = (maxRevolutions * StepPerRevolution) + (int)((float)potValue / 65535.0f * StepPerRevolution);
            } else if (potValue > 64535 && motor6.lastStablePotValue < 1000) {
                // Moving from low to high (wrap around backward)
                targetSteps = (int)((float)potValue / 65535.0f * StepPerRevolution) - StepPerRevolution;
            }

            moveToPositionSmooth(&motor6, targetSteps);
            motor6.lastStablePotValue = potValue;
        }
        else if(motor6.enabled == MOTOR_ENABLED) {
            // Compare absolute step positions
            float targetAngle = (float)motor6.lastStablePotValue / 65535.0f * motor6.rotationRange;
            int targetSteps = (int)(targetAngle/360.0f * StepPerRevolution);

            if(abs(motor6.totalSteps - targetSteps) <= POSITION_TOLERANCE) {
                HAL_GPIO_WritePin(motor6.enablePort, motor6.enablePin, GPIO_PIN_SET);
                motor6.enabled = MOTOR_DISABLED;
            }
        }
		osDelay(10); // Delay using FreeRTOS (10ms delay)
	}
  /* USER CODE END SixthMotor */
}

 /* MPU Configuration */

void MPU_Config(void)
{
  MPU_Region_InitTypeDef MPU_InitStruct = {0};

  /* Disables the MPU */
  HAL_MPU_Disable();

  /** Initializes and configures the Region and the memory to be protected
  */
  MPU_InitStruct.Enable = MPU_REGION_ENABLE;
  MPU_InitStruct.Number = MPU_REGION_NUMBER0;
  MPU_InitStruct.BaseAddress = 0x0;
  MPU_InitStruct.Size = MPU_REGION_SIZE_4GB;
  MPU_InitStruct.SubRegionDisable = 0x87;
  MPU_InitStruct.TypeExtField = MPU_TEX_LEVEL0;
  MPU_InitStruct.AccessPermission = MPU_REGION_NO_ACCESS;
  MPU_InitStruct.DisableExec = MPU_INSTRUCTION_ACCESS_DISABLE;
  MPU_InitStruct.IsShareable = MPU_ACCESS_SHAREABLE;
  MPU_InitStruct.IsCacheable = MPU_ACCESS_NOT_CACHEABLE;
  MPU_InitStruct.IsBufferable = MPU_ACCESS_NOT_BUFFERABLE;

  HAL_MPU_ConfigRegion(&MPU_InitStruct);
  /* Enables the MPU */
  HAL_MPU_Enable(MPU_PRIVILEGED_DEFAULT);

}

void HAL_TIM_PeriodElapsedCallback(TIM_HandleTypeDef *htim)
{
  if (htim->Instance == TIM1)
  {
    HAL_IncTick();
  }
}

void Error_Handler(void)
{
	__disable_irq();
	while (1)
	{
	}
}
